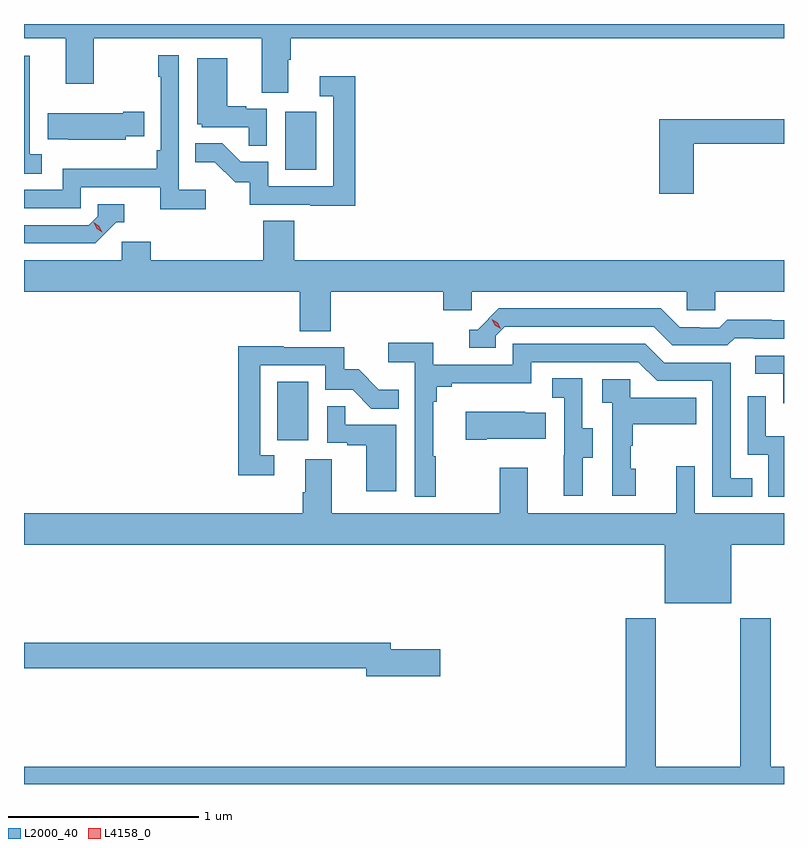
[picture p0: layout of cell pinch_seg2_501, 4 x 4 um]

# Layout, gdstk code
import gdstk
lib = gdstk.Library(unit=1e-6, precision=1e-09)
def R(c, l, rs):  # rectangles x0, y0, x1, y1
    for r in rs: c.add(gdstk.rectangle(r[:2], r[2:], *l))
def P(c, l, *ps):  # polygons
    for p in ps: c.add(gdstk.Polygon(p, *l))
L2000_40 = (2000, 40)
L4158_0 = (4158, 0)

pinch_seg2_501 = lib.new_cell('pinch_seg2_501')
R(pinch_seg2_501, L2000_40, [(952.088,590.91,952.252,591.217), (952.13,592.332,952.294,592.639)])
P(pinch_seg2_501, L2000_40, [(952.147,592.912),(952.16,592.912),(952.16,593.024),(954.755,593.024),(954.755,593.1),(950.755,593.1),(950.755,593.024),(950.975,593.024),(950.975,592.785),(951.123,592.785),(951.123,593.024),(952.007,593.024),(952.007,592.738),(952.147,592.738)],
  [(951.712,592.228),(951.57,592.228),(951.57,592.936),(951.462,592.936),(951.462,592.823),(951.474,592.823),(951.474,592.435),(951.454,592.435),(951.454,592.339),(950.958,592.339),(950.958,592.227),(950.755,592.227),(950.755,592.131),(951.054,592.131),(951.054,592.242),(951.473,592.242),(951.473,592.126),(951.712,592.126)],
  [(950.848,592.415),(950.784,592.415),(950.784,592.719),(950.786,592.719),(950.786,592.933),(950.755,592.933),(950.755,592.312),(950.848,592.312)],
  [(952.032,592.653),(951.926,592.653),(951.926,592.666),(951.826,592.666),(951.826,592.921),(951.668,592.921),(951.668,592.572),(951.69,592.572),(951.69,592.557),(951.937,592.557),(951.937,592.459),(952.032,592.459)],
  [(952.499,592.825),(952.311,592.825),(952.311,592.719),(952.383,592.719),(952.383,592.245),(952.041,592.245),(952.041,592.374),(951.897,592.374),(951.799,592.472),(951.655,592.472),(951.655,592.373),(951.759,592.373),(951.866,592.266),(951.943,592.266),(951.943,592.149),(952.261,592.149),(952.261,592.144),(952.499,592.144)],
  [(951.291,592.508),(951.389,592.508),(951.389,592.638),(951.278,592.638),(951.278,592.63),(950.881,592.63),(950.881,592.493),(950.989,592.493),(950.989,592.49),(951.291,592.49)],
  [(954.281,592.471),(954.755,592.471),(954.755,592.6),(954.098,592.6),(954.098,592.206),(954.281,592.206)],
  [(951.24,592.056),(951.283,592.056),(951.283,592.152),(951.144,592.152),(951.144,592.089),(951.096,592.041),(950.755,592.041),(950.755,591.945),(951.129,591.945)],
  [(952.37,591.692),(952.961,591.692),(952.961,591.594),(953.112,591.594),(953.112,591.692),(954.243,591.692),(954.243,591.594),(954.393,591.594),(954.393,591.692),(954.755,591.692),(954.755,591.856),(952.178,591.856),(952.178,592.064),(952.013,592.064),(952.013,591.856),(951.422,591.856),(951.422,591.954),(951.27,591.954),(951.27,591.856),(950.755,591.856),(950.755,591.692),(952.205,591.692),(952.205,591.484),(952.37,591.484)],
  [(953.238,591.459),(953.286,591.507),(954.069,591.507),(954.168,591.408),(954.457,591.408),(954.496,591.447),(954.595,591.447),(954.595,591.444),(954.755,591.444),(954.755,591.541),(954.69,591.541),(954.69,591.544),(954.457,591.544),(954.415,591.501),(954.312,591.501),(954.312,591.504),(954.205,591.504),(954.106,591.603),(953.253,591.603),(953.142,591.492),(953.099,591.492),(953.099,591.396),(953.238,591.396)],
  [(952.921,590.825),(952.909,590.825),(952.909,591.113),(952.928,591.113),(952.928,591.19),(953.005,591.19),(953.005,591.209),(953.424,591.209),(953.424,591.321),(953.988,591.321),(954.087,591.222),(954.378,591.222),(954.378,590.613),(954.587,590.613),(954.587,590.709),(954.474,590.709),(954.474,591.318),(954.124,591.318),(954.025,591.417),(953.328,591.417),(953.328,591.306),(952.91,591.306),(952.91,591.422),(952.671,591.422),(952.671,591.32),(952.812,591.32),(952.812,590.613),(952.921,590.613)],
  [(952.072,590.829),(951.999,590.829),(951.999,591.303),(952.341,591.303),(952.341,591.174),(952.485,591.174),(952.583,591.076),(952.727,591.076),(952.727,591.175),(952.623,591.175),(952.516,591.282),(952.44,591.282),(952.44,591.399),(952.121,591.399),(952.121,591.404),(951.883,591.404),(951.883,590.724),(952.072,590.724)],
  [(954.755,591.354),(954.603,591.354),(954.603,591.258),(954.75,591.258),(954.75,591.105),(954.755,591.105)],
  [(953.695,590.818),(953.749,590.818),(953.749,590.973),(953.694,590.973),(953.694,591.236),(953.535,591.236),(953.535,591.133),(953.598,591.133),(953.598,590.829),(953.597,590.829),(953.597,590.616),(953.695,590.616)],
  [(953.974,590.76),(953.949,590.76),(953.949,590.879),(953.959,590.879),(953.959,590.993),(954.293,590.993),(954.293,591.133),(953.946,591.133),(953.946,591.231),(953.799,591.231),(953.799,591.107),(953.85,591.107),(953.85,590.616),(953.974,590.616)],
  [(954.755,590.93),(954.66,590.93),(954.66,591.142),(954.564,591.142),(954.564,590.832),(954.672,590.832),(954.672,590.613),(954.755,590.613)],
  [(952.714,590.991),(952.445,590.991),(952.445,591.089),(952.35,591.089),(952.35,590.895),(952.457,590.895),(952.457,590.883),(952.556,590.883),(952.556,590.64),(952.714,590.64)],
  [(953.191,590.918),(953.501,590.918),(953.501,591.055),(953.393,591.055),(953.393,591.058),(953.079,591.058),(953.079,590.911),(953.191,590.911)],
  [(954.478,590.36),(954.755,590.36),(954.755,590.524),(954.285,590.524),(954.285,590.773),(954.188,590.773),(954.188,590.524),(953.407,590.524),(953.407,590.764),(953.26,590.764),(953.26,590.524),(952.375,590.524),(952.375,590.81),(952.235,590.81),(952.235,590.636),(952.223,590.636),(952.223,590.524),(950.755,590.524),(950.755,590.36),(954.128,590.36),(954.128,590.051),(954.478,590.051)],
  [(954.755,589.192),(954.686,589.192),(954.686,589.972),(954.526,589.972),(954.526,589.192),(954.081,589.192),(954.081,589.972),(953.921,589.972),(953.921,589.192),(950.755,589.192),(950.755,589.1),(954.755,589.1)],
  [(952.945,589.808),(952.684,589.808),(952.684,589.844),(950.755,589.844),(950.755,589.708),(952.556,589.708),(952.556,589.666),(952.945,589.666)])
P(pinch_seg2_501, L4158_0, [(951.167,592.003),(951.137,592.023),(951.121,592.056),(951.121,592.056),(951.122,592.056),(951.152,592.036),(951.167,592.003),(951.167,592.003)],
  [(953.264,591.495),(953.233,591.514),(953.217,591.547),(953.217,591.547),(953.217,591.547),(953.248,591.528),(953.264,591.495),(953.264,591.495)])

lib.write_gds('pinch_seg2_501.gds')
